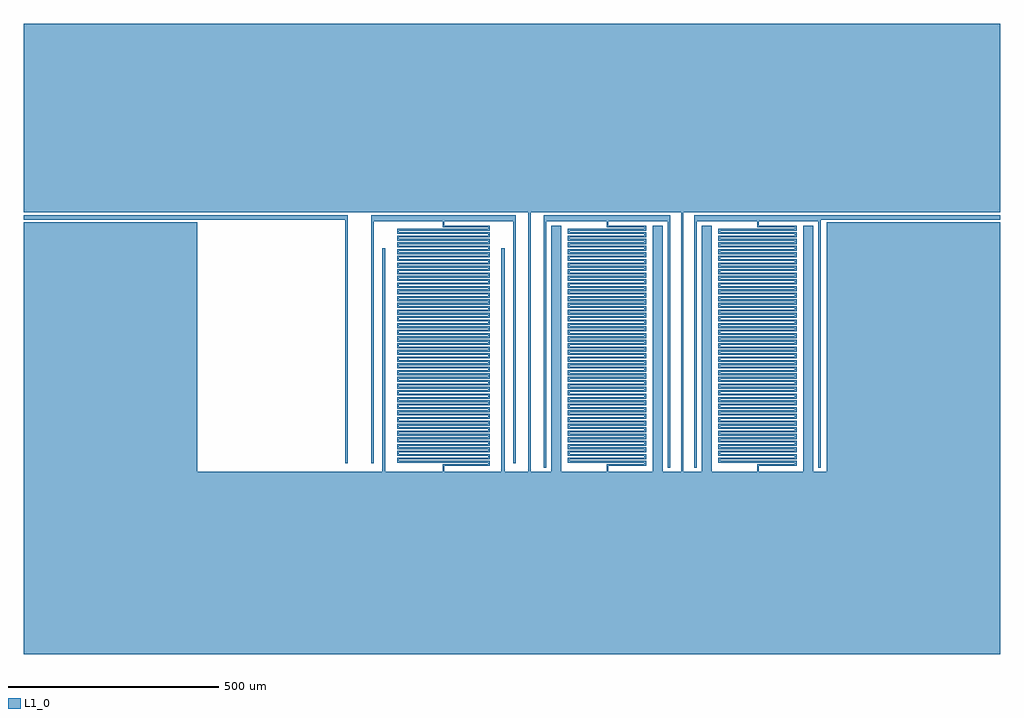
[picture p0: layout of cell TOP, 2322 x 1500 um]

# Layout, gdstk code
import gdstk
lib = gdstk.Library(unit=1e-6, precision=1e-09)
def R(c, l, rs):  # rectangles x0, y0, x1, y1
    for r in rs: c.add(gdstk.rectangle(r[:2], r[2:], *l))
def P(c, l, *ps):  # polygons
    for p in ps: c.add(gdstk.Polygon(p, *l))
L1_0 = (1, 0)

top = lib.new_cell('TOP')
R(top, L1_0, [(852,434,860,966), (1136,434,1144,966), (1254,434,1278,1020), (1496,434,1520,1020), (1612,434,1636,1020), (1854,434,1878,1020), (1746,1034,2322,1044)])
P(top, L1_0, [(770,1044),(0,1044),(0,1034),(764,1034),(764,454),(770,454)],
  [(2322,1052),(2322,1500),(0,1500),(0,1052),(1200,1052),(1200,434),(1206,434),(1206,1052),(1564,1052),(1564,434),(1206,434),(1200,434),(412,434),(412,1028),(0,1028),(0,0),(2322,0),(2322,1028),(1910,1028),(1910,434),(1568,434),(1568,1052)],
  [(826,454),(832,454),(832,1030),(1164,1030),(1164,454),(1170,454),(1170,1044),(826,1044)],
  [(1000,448),(1108,448),(1108,460),(892,460),(892,464),(1108,464),(1108,476),(892,476),(892,480),(1108,480),(1108,492),(892,492),(892,496),(1108,496),(1108,508),(892,508),(892,512),(1108,512),(1108,524),(892,524),(892,528),(1108,528),(1108,540),(892,540),(892,544),(1108,544),(1108,556),(892,556),(892,560),(1108,560),(1108,572),(892,572),(892,576),(1108,576),(1108,588),(892,588),(892,592),(1108,592),(1108,604),(892,604),(892,608),(1108,608),(1108,620),(892,620),(892,624),(1108,624),(1108,636),(892,636),(892,640),(1108,640),(1108,652),(892,652),(892,656),(1108,656),(1108,668),(892,668),(892,672),(1108,672),(1108,684),(892,684),(892,688),(1108,688),(1108,700),(892,700),(892,704),(1108,704),(1108,716),(892,716),(892,720),(1108,720),(1108,732),(892,732),(892,736),(888,736),(888,728),(1104,728),(1104,724),(888,724),(888,712),(1104,712),(1104,708),(888,708),(888,696),(1104,696),(1104,692),(888,692),(888,680),(1104,680),(1104,676),(888,676),(888,664),(1104,664),(1104,660),(888,660),(888,648),(1104,648),(1104,644),(888,644),(888,632),(1104,632),(1104,628),(888,628),(888,616),(1104,616),(1104,612),(888,612),(888,600),(1104,600),(1104,596),(888,596),(888,584),(1104,584),(1104,580),(888,580),(888,568),(1104,568),(1104,564),(888,564),(888,552),(1104,552),(1104,548),(888,548),(888,536),(1104,536),(1104,532),(888,532),(888,520),(1104,520),(1104,516),(888,516),(888,504),(1104,504),(1104,500),(888,500),(888,488),(1104,488),(1104,484),(888,484),(888,472),(1104,472),(1104,468),(888,468),(888,456),(1104,456),(1104,452),(996,452),(996,434),(1000,434)],
  [(1108,748),(892,748),(892,752),(1108,752),(1108,764),(892,764),(892,768),(1108,768),(1108,780),(892,780),(892,784),(1108,784),(1108,796),(892,796),(892,800),(1108,800),(1108,812),(892,812),(892,816),(1108,816),(1108,828),(892,828),(892,832),(1108,832),(1108,844),(892,844),(892,848),(1108,848),(1108,860),(892,860),(892,864),(1108,864),(1108,876),(892,876),(892,880),(1108,880),(1108,892),(892,892),(892,896),(1108,896),(1108,908),(892,908),(892,912),(1108,912),(1108,924),(892,924),(892,928),(1108,928),(1108,940),(892,940),(892,944),(1108,944),(1108,956),(892,956),(892,960),(1108,960),(1108,972),(892,972),(892,976),(1108,976),(1108,988),(892,988),(892,992),(1108,992),(1108,1004),(892,1004),(892,1008),(1108,1008),(1108,1020),(1000,1020),(1000,1030),(996,1030),(996,1016),(1104,1016),(1104,1012),(888,1012),(888,1000),(1104,1000),(1104,996),(888,996),(888,984),(1104,984),(1104,980),(888,980),(888,968),(1104,968),(1104,964),(888,964),(888,952),(1104,952),(1104,948),(888,948),(888,936),(1104,936),(1104,932),(888,932),(888,920),(1104,920),(1104,916),(888,916),(888,904),(1104,904),(1104,900),(888,900),(888,888),(1104,888),(1104,884),(888,884),(888,872),(1104,872),(1104,868),(888,868),(888,856),(1104,856),(1104,852),(888,852),(888,840),(1104,840),(1104,836),(888,836),(888,824),(1104,824),(1104,820),(888,820),(888,808),(1104,808),(1104,804),(888,804),(888,792),(1104,792),(1104,788),(888,788),(888,776),(1104,776),(1104,772),(888,772),(888,760),(1104,760),(1104,756),(888,756),(888,744),(1104,744),(1104,740),(888,740),(888,736),(1108,736)],
  [(1236,444),(1242,444),(1242,1030),(1532,1030),(1532,444),(1538,444),(1538,1044),(1236,1044)],
  [(1390,448),(1480,448),(1480,460),(1298,460),(1298,464),(1480,464),(1480,476),(1298,476),(1298,480),(1480,480),(1480,492),(1298,492),(1298,496),(1480,496),(1480,508),(1298,508),(1298,512),(1480,512),(1480,524),(1298,524),(1298,528),(1480,528),(1480,540),(1298,540),(1298,544),(1480,544),(1480,556),(1298,556),(1298,560),(1480,560),(1480,572),(1298,572),(1298,576),(1480,576),(1480,588),(1298,588),(1298,592),(1480,592),(1480,604),(1298,604),(1298,608),(1480,608),(1480,620),(1298,620),(1298,624),(1480,624),(1480,636),(1298,636),(1298,640),(1480,640),(1480,652),(1298,652),(1298,656),(1480,656),(1480,668),(1298,668),(1298,672),(1480,672),(1480,684),(1298,684),(1298,688),(1480,688),(1480,700),(1298,700),(1298,704),(1480,704),(1480,716),(1298,716),(1298,720),(1480,720),(1480,732),(1298,732),(1298,736),(1294,736),(1294,728),(1476,728),(1476,724),(1294,724),(1294,712),(1476,712),(1476,708),(1294,708),(1294,696),(1476,696),(1476,692),(1294,692),(1294,680),(1476,680),(1476,676),(1294,676),(1294,664),(1476,664),(1476,660),(1294,660),(1294,648),(1476,648),(1476,644),(1294,644),(1294,632),(1476,632),(1476,628),(1294,628),(1294,616),(1476,616),(1476,612),(1294,612),(1294,600),(1476,600),(1476,596),(1294,596),(1294,584),(1476,584),(1476,580),(1294,580),(1294,568),(1476,568),(1476,564),(1294,564),(1294,552),(1476,552),(1476,548),(1294,548),(1294,536),(1476,536),(1476,532),(1294,532),(1294,520),(1476,520),(1476,516),(1294,516),(1294,504),(1476,504),(1476,500),(1294,500),(1294,488),(1476,488),(1476,484),(1294,484),(1294,472),(1476,472),(1476,468),(1294,468),(1294,456),(1476,456),(1476,452),(1386,452),(1386,434),(1390,434)],
  [(1480,748),(1298,748),(1298,752),(1480,752),(1480,764),(1298,764),(1298,768),(1480,768),(1480,780),(1298,780),(1298,784),(1480,784),(1480,796),(1298,796),(1298,800),(1480,800),(1480,812),(1298,812),(1298,816),(1480,816),(1480,828),(1298,828),(1298,832),(1480,832),(1480,844),(1298,844),(1298,848),(1480,848),(1480,860),(1298,860),(1298,864),(1480,864),(1480,876),(1298,876),(1298,880),(1480,880),(1480,892),(1298,892),(1298,896),(1480,896),(1480,908),(1298,908),(1298,912),(1480,912),(1480,924),(1298,924),(1298,928),(1480,928),(1480,940),(1298,940),(1298,944),(1480,944),(1480,956),(1298,956),(1298,960),(1480,960),(1480,972),(1298,972),(1298,976),(1480,976),(1480,988),(1298,988),(1298,992),(1480,992),(1480,1004),(1298,1004),(1298,1008),(1480,1008),(1480,1020),(1390,1020),(1390,1030),(1386,1030),(1386,1016),(1476,1016),(1476,1012),(1294,1012),(1294,1000),(1476,1000),(1476,996),(1294,996),(1294,984),(1476,984),(1476,980),(1294,980),(1294,968),(1476,968),(1476,964),(1294,964),(1294,952),(1476,952),(1476,948),(1294,948),(1294,936),(1476,936),(1476,932),(1294,932),(1294,920),(1476,920),(1476,916),(1294,916),(1294,904),(1476,904),(1476,900),(1294,900),(1294,888),(1476,888),(1476,884),(1294,884),(1294,872),(1476,872),(1476,868),(1294,868),(1294,856),(1476,856),(1476,852),(1294,852),(1294,840),(1476,840),(1476,836),(1294,836),(1294,824),(1476,824),(1476,820),(1294,820),(1294,808),(1476,808),(1476,804),(1294,804),(1294,792),(1476,792),(1476,788),(1294,788),(1294,776),(1476,776),(1476,772),(1294,772),(1294,760),(1476,760),(1476,756),(1294,756),(1294,744),(1476,744),(1476,740),(1294,740),(1294,736),(1480,736)],
  [(1594,444),(1600,444),(1600,1030),(1890,1030),(1890,444),(1896,444),(1896,1044),(1594,1044)],
  [(1748,448),(1838,448),(1838,460),(1656,460),(1656,464),(1838,464),(1838,476),(1656,476),(1656,480),(1838,480),(1838,492),(1656,492),(1656,496),(1838,496),(1838,508),(1656,508),(1656,512),(1838,512),(1838,524),(1656,524),(1656,528),(1838,528),(1838,540),(1656,540),(1656,544),(1838,544),(1838,556),(1656,556),(1656,560),(1838,560),(1838,572),(1656,572),(1656,576),(1838,576),(1838,588),(1656,588),(1656,592),(1838,592),(1838,604),(1656,604),(1656,608),(1838,608),(1838,620),(1656,620),(1656,624),(1838,624),(1838,636),(1656,636),(1656,640),(1838,640),(1838,652),(1656,652),(1656,656),(1838,656),(1838,668),(1656,668),(1656,672),(1838,672),(1838,684),(1656,684),(1656,688),(1838,688),(1838,700),(1656,700),(1656,704),(1838,704),(1838,716),(1656,716),(1656,720),(1838,720),(1838,732),(1656,732),(1656,736),(1652,736),(1652,728),(1834,728),(1834,724),(1652,724),(1652,712),(1834,712),(1834,708),(1652,708),(1652,696),(1834,696),(1834,692),(1652,692),(1652,680),(1834,680),(1834,676),(1652,676),(1652,664),(1834,664),(1834,660),(1652,660),(1652,648),(1834,648),(1834,644),(1652,644),(1652,632),(1834,632),(1834,628),(1652,628),(1652,616),(1834,616),(1834,612),(1652,612),(1652,600),(1834,600),(1834,596),(1652,596),(1652,584),(1834,584),(1834,580),(1652,580),(1652,568),(1834,568),(1834,564),(1652,564),(1652,552),(1834,552),(1834,548),(1652,548),(1652,536),(1834,536),(1834,532),(1652,532),(1652,520),(1834,520),(1834,516),(1652,516),(1652,504),(1834,504),(1834,500),(1652,500),(1652,488),(1834,488),(1834,484),(1652,484),(1652,472),(1834,472),(1834,468),(1652,468),(1652,456),(1834,456),(1834,452),(1744,452),(1744,434),(1748,434)],
  [(1838,748),(1656,748),(1656,752),(1838,752),(1838,764),(1656,764),(1656,768),(1838,768),(1838,780),(1656,780),(1656,784),(1838,784),(1838,796),(1656,796),(1656,800),(1838,800),(1838,812),(1656,812),(1656,816),(1838,816),(1838,828),(1656,828),(1656,832),(1838,832),(1838,844),(1656,844),(1656,848),(1838,848),(1838,860),(1656,860),(1656,864),(1838,864),(1838,876),(1656,876),(1656,880),(1838,880),(1838,892),(1656,892),(1656,896),(1838,896),(1838,908),(1656,908),(1656,912),(1838,912),(1838,924),(1656,924),(1656,928),(1838,928),(1838,940),(1656,940),(1656,944),(1838,944),(1838,956),(1656,956),(1656,960),(1838,960),(1838,972),(1656,972),(1656,976),(1838,976),(1838,988),(1656,988),(1656,992),(1838,992),(1838,1004),(1656,1004),(1656,1008),(1838,1008),(1838,1020),(1748,1020),(1748,1030),(1744,1030),(1744,1016),(1834,1016),(1834,1012),(1652,1012),(1652,1000),(1834,1000),(1834,996),(1652,996),(1652,984),(1834,984),(1834,980),(1652,980),(1652,968),(1834,968),(1834,964),(1652,964),(1652,952),(1834,952),(1834,948),(1652,948),(1652,936),(1834,936),(1834,932),(1652,932),(1652,920),(1834,920),(1834,916),(1652,916),(1652,904),(1834,904),(1834,900),(1652,900),(1652,888),(1834,888),(1834,884),(1652,884),(1652,872),(1834,872),(1834,868),(1652,868),(1652,856),(1834,856),(1834,852),(1652,852),(1652,840),(1834,840),(1834,836),(1652,836),(1652,824),(1834,824),(1834,820),(1652,820),(1652,808),(1834,808),(1834,804),(1652,804),(1652,792),(1834,792),(1834,788),(1652,788),(1652,776),(1834,776),(1834,772),(1652,772),(1652,760),(1834,760),(1834,756),(1652,756),(1652,744),(1834,744),(1834,740),(1652,740),(1652,736),(1838,736)])

lib.write_gds('TOP.gds')
